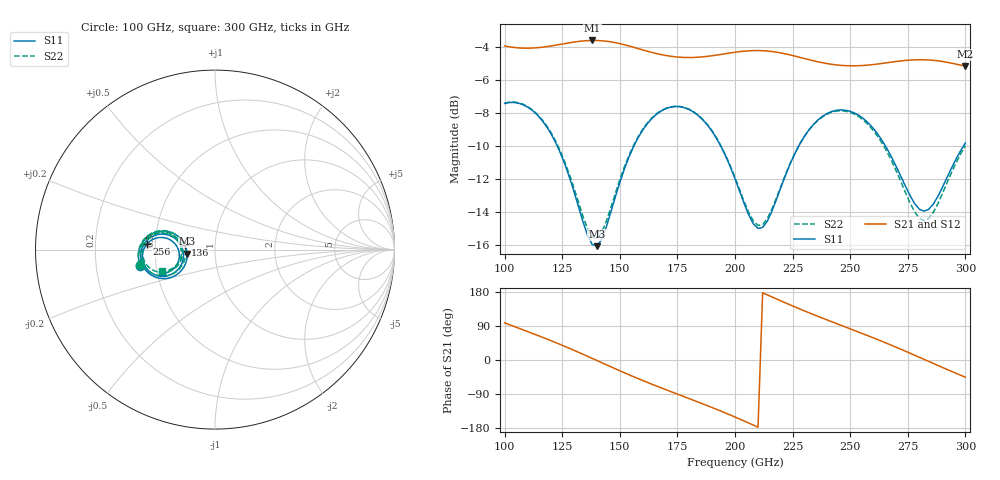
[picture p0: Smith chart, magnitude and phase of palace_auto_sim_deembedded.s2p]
! Created with skrf 1.11.0 (http://scikit-rf.org).
# GHz S DB R 50.0
!freq dBS11 angS11 dBS21 angS21 dBS12 angS12 dBS22 angS22
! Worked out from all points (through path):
!   101 points, 100 GHz to 300 GHz, reference 50 ohm
!   highest |S21| = -3.59 dB at 138 GHz (marker M1); lowest = -5.2 dB at 300 GHz (marker M2)
!   group delay of S21, straight-line fit = 6.99 ps
!   lowest |S11| = -16.1 dB at 140 GHz (marker M3), VSWR 1.37, Z = 36.5 - j1.76 ohm
!   |S11| at or under -10 dB: 122.8 GHz to 156.1 GHz (33.31 GHz wide, 23.9 % of centre); 193.8 GHz to 227.7 GHz (33.92 GHz wide, 16.1 % of centre); 265.3 GHz to 299.2 GHz (33.93 GHz wide, 12 % of centre)
!   |S22| runs from -15.6 to -7.3 dB; largest |S21 - S12| = 7.7e-14
!   S11 on the Smith chart (normalised r, x): 100 GHz: 0.41, -0.09; 136 GHz: 0.71, +0.04; 256 GHz: 0.45, +0.03; 300 GHz: 0.53, -0.16
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100  -7.42 -167.4  -3.92 98.0  -3.92 98.0  -7.40 -168.2
108  -7.49 -179.8  -4.05 79.5  -4.05 79.5  -7.47 179.5
118  -8.78 166.2  -3.97 56.1  -3.97 56.1  -8.72 165.7
134  -14.61 165.2  -3.62 15.3  -3.62 15.3  -14.28 164.8
136  -15.44 171.2  -3.60 9.8  -3.60 9.8  -15.04 170.5
138  -15.99 179.4  -3.59 4.4  -3.59 4.4  -15.54 178.0
140  -16.10 -171.4  -3.59 -1.1  -3.59 -1.1  -15.64 -173.5
146  -14.08 -150.8  -3.67 -17.5  -3.67 -17.5  -13.80 -154.2
154  -10.67 -147.8  -3.92 -38.9  -3.92 -38.9  -10.57 -151.0
168  -7.87 -163.8  -4.45 -73.6  -4.45 -73.6  -7.85 -166.7
184  -8.15 174.3  -4.60 -111.0  -4.60 -111.0  -8.13 171.7
200  -12.00 163.0  -4.30 -150.5  -4.30 -150.5  -11.92 160.5
208  -14.74 177.0  -4.20 -171.8  -4.20 -171.8  -14.58 174.1
212  -14.96 -169.0  -4.21 177.4  -4.21 177.4  -14.79 -172.5
222  -11.76 -150.4  -4.41 150.5  -4.41 150.5  -11.71 -154.5
234  -8.70 -157.9  -4.82 120.1  -4.82 120.1  -8.72 -162.1
244  -7.84 -170.0  -5.07 96.3  -5.07 96.3  -7.88 -174.3
256  -8.37 175.5  -5.10 68.1  -5.10 68.1  -8.46 170.9
268  -10.69 166.8  -4.90 38.7  -4.90 38.7  -10.92 161.6
282  -13.97 -173.9  -4.76 1.9  -4.76 1.9  -14.54 -177.4
290  -12.53 -157.0  -4.87 -19.5  -4.87 -19.5  -12.91 -158.8
300  -9.82 -155.7  -5.15 -45.4  -5.15 -45.4  -9.98 -157.7
